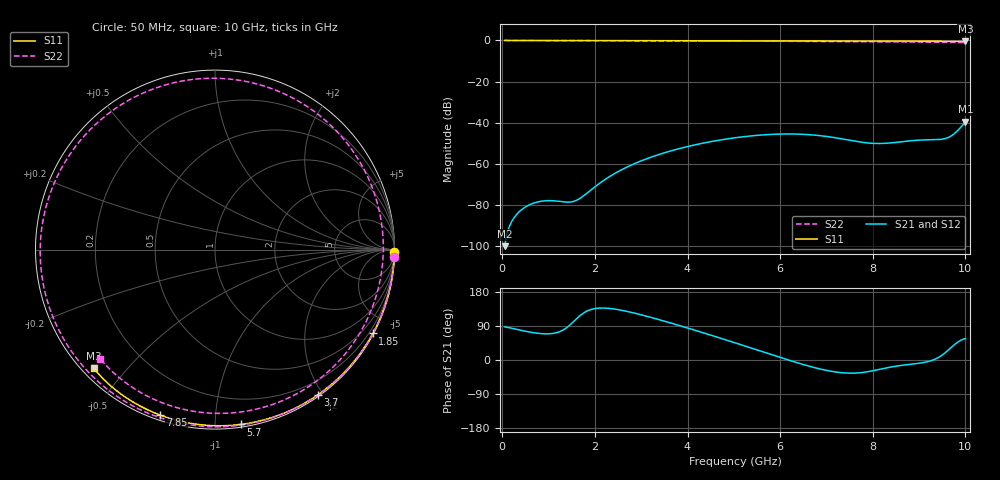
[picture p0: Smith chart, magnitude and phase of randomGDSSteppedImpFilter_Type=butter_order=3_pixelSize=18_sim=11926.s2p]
! freq	dB(S11)	phase(S11)	dB(S12)	phase(S12)
!  dB(S21)	phase(S21)	dB(S22)	phase(S22)
!S-par simulation data
#  GHz  S  DB  R 50
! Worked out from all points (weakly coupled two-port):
!   200 points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, 50 MHz to 10 GHz, reference 50 ohm
!   highest |S21| = -39.54 dB at 10 GHz (marker M1); lowest = -100.0 dB at 50 MHz (marker M2)
!   lowest |S11| = -0.5 dB at 10 GHz (marker M3), VSWR 34.72, Z = 1.68 - j20.4 ohm
!   |S11| at or under -10 dB: nowhere
!   |S22| runs from -1.1 to 0.0 dB; largest |S21 - S12| = 0
!   S11 on the Smith chart (normalised r, x): 50 MHz: open; 1.85 GHz: 0.03, -4.01; 3.7 GHz: 0.02, -1.93; 5.7 GHz: 0.02, -1.16; 7.85 GHz: 0.02, -0.72; 10 GHz: 0.03, -0.41
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0.05  -0.00 -0.8  -99.97 87.6  -99.97 87.6  -0.01 -2.4
0.5  -0.01 -7.7  -80.91 75.8  -80.91 75.8  -0.03 -23.3
1  -0.02 -15.3  -77.85 69.1  -77.85 69.1  -0.06 -46.1
1.5  -0.03 -22.8  -78.42 96.8  -78.42 96.8  -0.08 -68.1
1.75  -0.03 -26.5  -75.59 123.6  -75.59 123.6  -0.10 -78.8
1.85  -0.04 -28.0  -73.83 130.3  -73.83 130.3  -0.10 -83.1
2.6  -0.05 -39.0  -62.55 130.6  -62.55 130.6  -0.14 -114.0
3.4  -0.07 -50.5  -55.29 105.9  -55.29 105.9  -0.18 -146.0
3.7  -0.07 -54.7  -53.28 95.3  -53.28 95.3  -0.19 -158.1
4.4  -0.09 -64.3  -49.61 69.4  -49.61 69.4  -0.24 172.8
5.05  -0.11 -73.1  -47.22 44.3  -47.22 44.3  -0.30 143.4
5.7  -0.14 -81.6  -45.79 18.6  -45.79 18.6  -0.36 110.3
6.2  -0.16 -87.9  -45.44 -0.9  -45.44 -0.9  -0.42 81.8
6.7  -0.18 -94.2  -45.92 -18.8  -45.92 -18.8  -0.47 51.0
7  -0.20 -97.9  -46.65 -27.4  -46.65 -27.4  -0.50 31.7
7.3  -0.22 -101.6  -47.69 -33.2  -47.69 -33.2  -0.54 12.3
7.85  -0.25 -108.3  -49.71 -31.6  -49.71 -31.6  -0.60 -22.7
8.35  -0.29 -114.3  -49.86 -19.4  -49.86 -19.4  -0.67 -52.5
8.95  -0.34 -121.6  -48.50 -9.4  -48.50 -9.4  -0.78 -85.1
9.55  -0.41 -129.1  -47.76 17.8  -47.76 17.8  -0.92 -115.0
9.75  -0.44 -131.9  -45.48 39.2  -45.48 39.2  -0.99 -124.6
10  -0.50 -135.6  -39.54 56.6  -39.54 56.6  -1.08 -136.4
